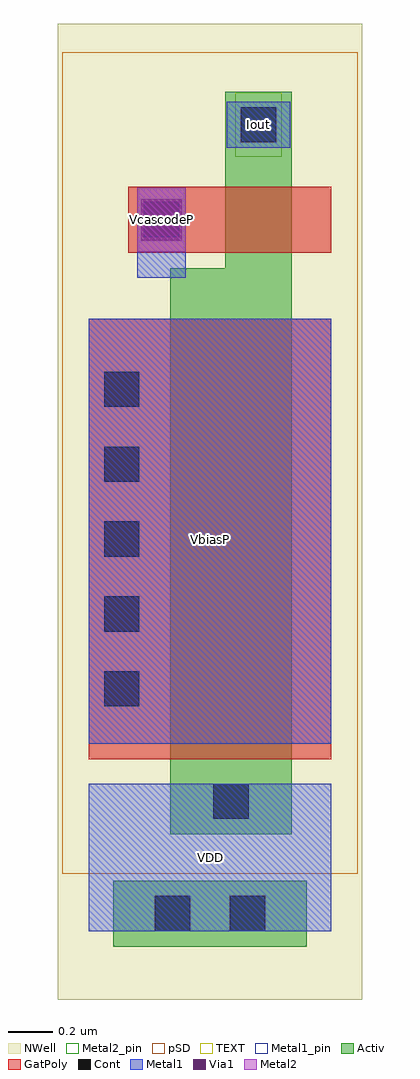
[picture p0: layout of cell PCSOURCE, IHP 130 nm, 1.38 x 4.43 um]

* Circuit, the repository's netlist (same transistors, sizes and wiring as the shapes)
* Extracted by KLayout with SG13G2 LVS runset on : 27/08/2025 02:46

.SUBCKT PCSOURCE
M$1 \$1 \$4 \$8 \$1 sg13_lv_pmos L=2u W=0.55u AS=0.187p AD=0.07375p PS=1.78u
+ PD=0.85u
M$2 \$8 \$2 \$7 \$1 sg13_lv_pmos L=0.3u W=0.3u AS=0.07375p AD=0.129p PS=0.85u
+ PD=1.46u
.ENDS PCSOURCE

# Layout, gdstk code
import gdstk
lib = gdstk.Library(unit=1e-6, precision=1e-09)
def R(c, l, rs):  # rectangles x0, y0, x1, y1
    for r in rs: c.add(gdstk.rectangle(r[:2], r[2:], *l))
def A(c, l, x, y, w, h, nx, ny, dx, dy):  # array of equal rectangles
    R(c, l, [(x+i*dx, y+j*dy, x+i*dx+w, y+j*dy+h) for i in range(nx) for j in range(ny)])
Activ = (1, 0)
GatPoly = (5, 0)
Cont = (6, 0)
Metal1 = (8, 0)
Metal1_pin = (8, 2)
Metal2 = (10, 0)
Metal2_pin = (10, 2)
pSD = (14, 0)
Via1 = (19, 0)
NWell = (31, 0)
TEXT = (63, 0)

switched_pmos_cascode = lib.new_cell('switched_pmos_cascode')
R(switched_pmos_cascode, Activ, [(0.29,-0.38,0.59,0.58)])
R(switched_pmos_cascode, GatPoly, [(-0.15,-0.15,0.77,0.15)])
R(switched_pmos_cascode, Cont, [(-0.26,-2.21,-0.1,-2.05), (0.36,0.35,0.52,0.51)])
R(switched_pmos_cascode, Metal1, [(-0.11,-0.265,0.11,0.145), (0.295,0.325,0.585,0.535)])
R(switched_pmos_cascode, Metal2, [(-0.11,-0.145,0.11,0.145)])
R(switched_pmos_cascode, pSD, [(-0.01,-0.56,0.89,0.76)])
R(switched_pmos_cascode, Via1, [(-0.095,-0.095,0.095,0.095)])
R(switched_pmos_cascode, NWell, [(-0.03,-0.79,0.91,0.89)])
R(switched_pmos_cascode, TEXT, [(0.335,0.285,0.545,0.575), (0.345,0.335,0.535,0.525)])

pcsource = lib.new_cell('PCSOURCE')
R(pcsource, Activ, [(-0.22,-3.3,0.66,-3), (0.04,-2.79,0.59,-0.22)])
R(pcsource, GatPoly, [(-0.33,-2.45,0.77,-0.45)])
A(pcsource, Cont, -0.26, -1.87, 0.16, 0.16, 1, 4, 0, 0.34)
R(pcsource, Cont, [(-0.03,-3.23,0.13,-3.07), (0.31,-3.23,0.47,-3.07), (0.235,-2.72,0.395,-2.56), (-0.08,-0.08,0.08,0.08)])
R(pcsource, Metal1, [(-0.33,-3.23,0.77,-2.56), (-0.33,-2.38,0.77,-0.45)])
R(pcsource, Metal1_pin, [(-0.33,-3.23,0.77,-2.56), (-0.33,-2.38,0.77,-0.45), (0.295,0.325,0.585,0.535)])
R(pcsource, Metal2_pin, [(-0.105,-0.145,0.105,0.145)])
R(pcsource, pSD, [(-0.45,-2.97,0.89,0.76)])
R(pcsource, NWell, [(-0.47,-3.54,0.91,0.89)])
pcsource.add(gdstk.Reference(switched_pmos_cascode, (0,0)))
pcsource.add(gdstk.Label('VDD', (0.22,-2.895), layer=8, texttype=2))
pcsource.add(gdstk.Label('Iout', (0.44,0.43), layer=8, texttype=2))
pcsource.add(gdstk.Label('VbiasP', (0.22,-1.45), layer=8, texttype=2))
pcsource.add(gdstk.Label('VcascodeP', (0,0), layer=10, texttype=2))

lib.write_gds('PCSOURCE.gds')
